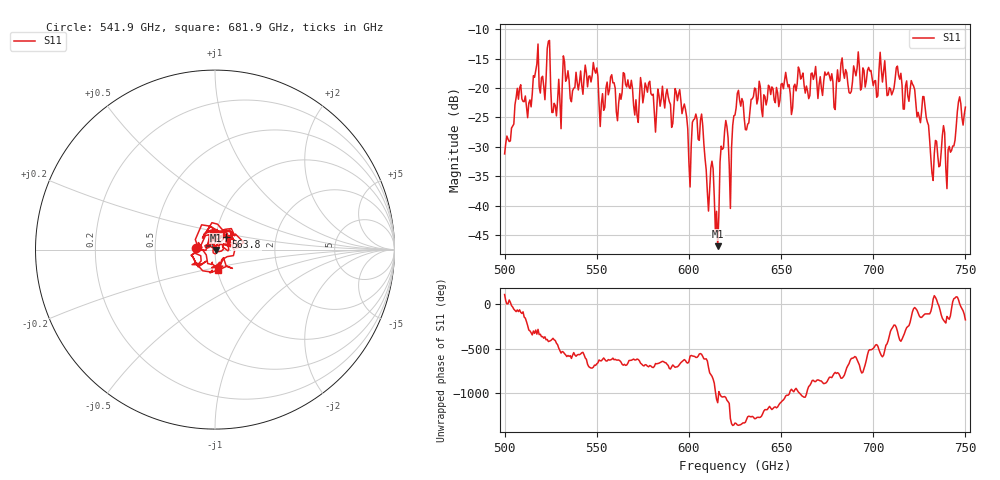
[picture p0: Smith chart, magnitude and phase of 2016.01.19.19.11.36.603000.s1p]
!Created with skrf (http://scikit-rf.org).
# GHz S RI R 50.0
!freq ReS11 ImS11
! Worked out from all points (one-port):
!   401 points, 500 GHz to 750 GHz, reference 50 ohm
!   lowest |S11| = -46.9 dB at 615.6 GHz (marker M1), VSWR 1.01, Z = 50.4 - j0.186 ohm
!   |S11| at or under -10 dB: start of sweep to end of sweep
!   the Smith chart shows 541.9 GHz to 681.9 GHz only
!   S11 on the Smith chart (normalised r, x): 541.9 GHz: 0.81, +0.01; 563.8 GHz: 1.12, +0.15; 681.9 GHz: 1.01, -0.23
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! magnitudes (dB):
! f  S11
! 500 GHz  -31.2
! 513.8 GHz  -22.0
! 516.9 GHz  -17.0
! 520.6 GHz  -18.0
! 523.8 GHz  -12.0
! 526.9 GHz  -22.6
! 531.2 GHz  -19.6
! 541.9 GHz  -19.6
! 562.5 GHz  -20.9
! 563.8 GHz  -20.7
! 571.2 GHz  -22.0
! 593.8 GHz  -22.1
! 600 GHz  -32.7
! 606.9 GHz  -24.4
! 610 GHz  -37.7
! 615.6 GHz  -46.9
! 618.8 GHz  -30.2
! 622.5 GHz  -40.5
! 625 GHz  -24.6
! 656.2 GHz  -23.4
! 681.9 GHz  -18.8
! 687.5 GHz  -20.9
! 718.8 GHz  -21.3
! 728.1 GHz  -23.2
! 731.9 GHz  -34.5
! 740.6 GHz  -30.5
! 746.2 GHz  -22.3
! 750 GHz  -23.2
